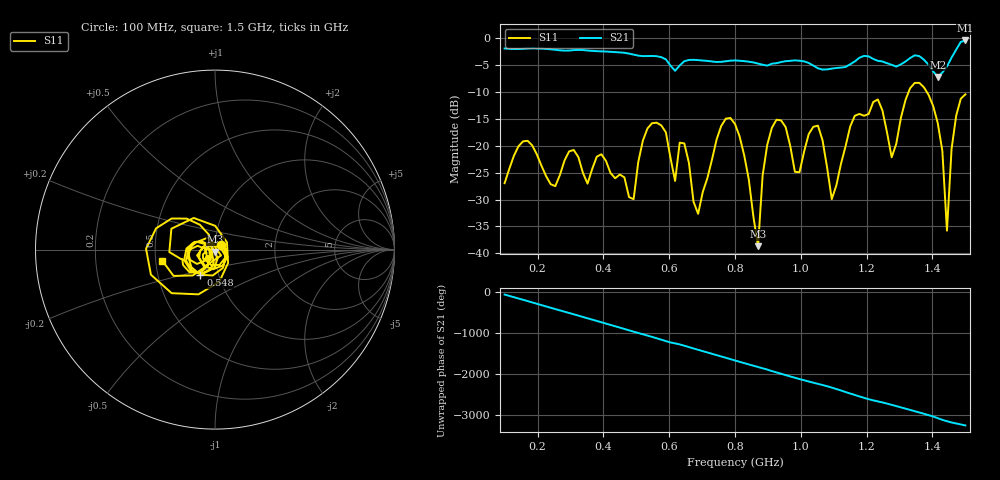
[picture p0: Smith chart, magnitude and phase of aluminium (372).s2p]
! NanoVNA-App
! Date: 2025-09-25 14:58:10
! Start: 100MHz Stop: 1,5GHz Points: 101
! S-Parameter data: F S11 S21 S12 S22
# Hz S RI R 50
!  Frequency  S11_Real  S11_Imag  S21_Real  S21_Imag  S12_Real  S12_Imag  S22_Real  S22_Imag
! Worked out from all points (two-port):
!   101 points, 100 MHz to 1.5 GHz, reference 50 ohm
!   highest |S21| = -0.43 dB at 1.5 GHz (marker M1); lowest = -7.2 dB at 1.416 GHz (marker M2)
!   |S21| within 3 dB of the highest: start of sweep to 567.7 MHz; 1.46 GHz to end of sweep (the widest 2 of 4)
!   lowest |S11| = -38.7 dB at 870 MHz (marker M3), VSWR 1.02, Z = 50.2 - j1.15 ohm
!   |S11| at or under -10 dB: start of sweep to 1.328 GHz; 1.383 GHz to end of sweep
!   S12 and S22 are empty: the file has one direction only
!   S11 on the Smith chart (normalised r, x): 100 MHz: 1.07, +0.06; 548 MHz: 0.82, -0.24; 1.5 GHz: 0.54, -0.07
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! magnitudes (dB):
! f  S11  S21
! 100 MHz  -27.0  -1.9
! 156 MHz  -19.2  -2.0
! 338 MHz  -25.0  -2.2
! 492 MHz  -29.9  -3.1
! 548 MHz  -15.8  -3.3
! 576 MHz  -16.2  -3.5
! 618 MHz  -26.5  -6.1
! 646 MHz  -19.6  -4.3
! 688 MHz  -32.7  -4.1
! 800 MHz  -16.0  -4.1
! 870 MHz  -38.7  -4.7
! 912 MHz  -16.7  -4.8
! 996 MHz  -24.9  -4.2
! 1.038 GHz  -16.5  -5.1
! 1.094 GHz  -29.9  -5.7
! 1.22 GHz  -11.9  -3.9
! 1.276 GHz  -22.1  -5.0
! 1.346 GHz  -8.3  -3.2
! 1.416 GHz  -15.8  -7.2
! 1.444 GHz  -35.8  -5.3
! 1.458 GHz  -20.6  -3.6
! 1.5 GHz  -10.4  -0.4
